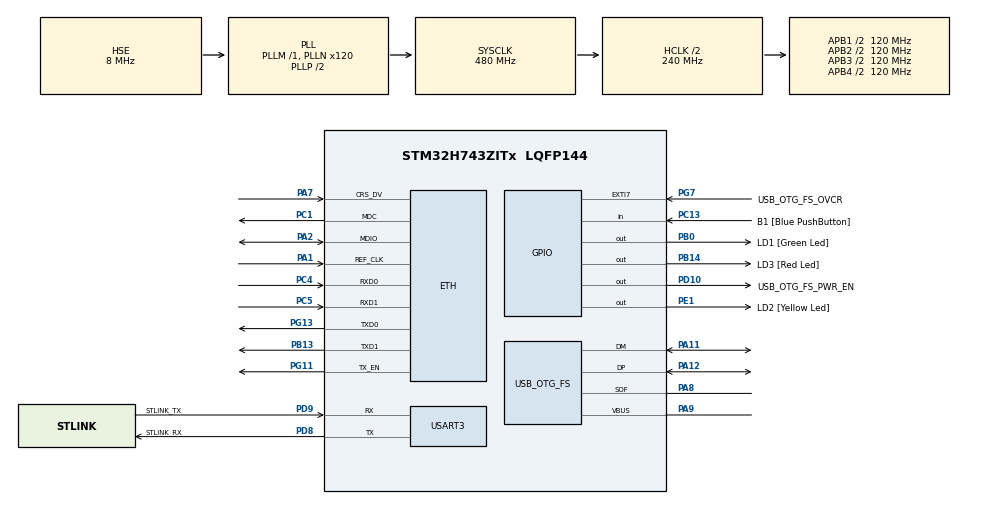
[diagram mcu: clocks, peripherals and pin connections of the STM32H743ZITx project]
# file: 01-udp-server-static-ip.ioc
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CORTEX_M7.AccessPermission_S-Cortex_Memory_Protection_Unit_Region1_Settings_S=MPU_REGION_FULL_ACCESS
CORTEX_M7.AccessPermission_S-Cortex_Memory_Protection_Unit_Region2_Settings_S=MPU_REGION_FULL_ACCESS
CORTEX_M7.BaseAddress_S-Cortex_Memory_Protection_Unit_Region1_Settings_S=0x30020000
CORTEX_M7.BaseAddress_S-Cortex_Memory_Protection_Unit_Region2_Settings_S=0x30040000
CORTEX_M7.CPU_DCache=Enabled
CORTEX_M7.CPU_ICache=Enabled
CORTEX_M7.DisableExec_S-Cortex_Memory_Protection_Unit_Region1_Settings_S=MPU_INSTRUCTION_ACCESS_DISABLE
CORTEX_M7.DisableExec_S-Cortex_Memory_Protection_Unit_Region2_Settings_S=MPU_INSTRUCTION_ACCESS_DISABLE
CORTEX_M7.Enable_S-Cortex_Memory_Protection_Unit_Region1_Settings_S=MPU_REGION_ENABLE
CORTEX_M7.Enable_S-Cortex_Memory_Protection_Unit_Region2_Settings_S=MPU_REGION_ENABLE
CORTEX_M7.IsBufferable_S-Cortex_Memory_Protection_Unit_Region2_Settings_S=MPU_ACCESS_BUFFERABLE
CORTEX_M7.IsShareable_S-Cortex_Memory_Protection_Unit_Region2_Settings_S=MPU_ACCESS_SHAREABLE
CORTEX_M7.Size_S-Cortex_Memory_Protection_Unit_Region1_Settings_S=MPU_REGION_SIZE_128KB
CORTEX_M7.Size_S-Cortex_Memory_Protection_Unit_Region2_Settings_S=MPU_REGION_SIZE_512B
CORTEX_M7.TypeExtField_S-Cortex_Memory_Protection_Unit_Region1_Settings_S=MPU_TEX_LEVEL1
CORTEX_M7.default_mode_Activation=1
ETH.MediaInterface=HAL_ETH_RMII_MODE
ETH.RxDescAddress=0x30040000
ETH.TxDescAddress=0x30040200
LWIP.BSP.number=1
LWIP.IP_ADDRESS=192.168.015.002
LWIP.LWIP_DHCP=0
LWIP.LWIP_RAM_HEAP_POINTER=0x30020000
LWIP.MEM_SIZE=131048
LWIP.NETMASK_ADDRESS=255.255.255.000
LWIP.TCP_MSS=1460
LWIP.TCP_SND_BUF=5840
LWIP.TCP_SND_QUEUELEN=16
LWIP.TCP_WND=5840
LWIP.Version=v2.1.2_Cube
LWIP0.BSP.STBoard=false
LWIP0.BSP.api=BSP_COMPONENT_DRIVER
LWIP0.BSP.component=LAN8742
LWIP0.BSP.instance=LAN8742
LWIP0.BSP.name=Driver_PHY
LWIP0.BSP.semaphore=S_LAN8742
LWIP0.BSP.solution=LAN8742
Mcu.Family=STM32H7
Mcu.Name=STM32H743ZITx
Mcu.Package=LQFP144
NVIC.ETH_IRQn=true\:0\:0\:false\:false\:true\:true\:true\:true
NVIC.PriorityGroup=NVIC_PRIORITYGROUP_4
PA1.GPIO_Speed=GPIO_SPEED_FREQ_VERY_HIGH
PA1.Mode=RMII
PA1.Signal=ETH_REF_CLK
PA11.Mode=Device_Only
PA11.Signal=USB_OTG_FS_DM
PA12.Mode=Device_Only
PA12.Signal=USB_OTG_FS_DP
PA2.GPIO_Speed=GPIO_SPEED_FREQ_VERY_HIGH
PA2.Mode=RMII
PA2.Signal=ETH_MDIO
PA7.GPIO_Speed=GPIO_SPEED_FREQ_VERY_HIGH
PA7.Mode=RMII
PA7.Signal=ETH_CRS_DV
PA8.Mode=Activate_SOF_FS
PA8.Signal=USB_OTG_FS_SOF
PA9.Mode=Activate_VBUS
PA9.Signal=USB_OTG_FS_VBUS
PB0.GPIO_Label=LD1 [Green Led]
PB0.Signal=GPIO_Output
PB13.GPIO_Speed=GPIO_SPEED_FREQ_VERY_HIGH
PB13.Mode=RMII
PB13.Signal=ETH_TXD1
PB14.GPIO_Label=LD3 [Red Led]
PB14.Signal=GPIO_Output
PC1.GPIO_Speed=GPIO_SPEED_FREQ_VERY_HIGH
PC1.Mode=RMII
PC1.Signal=ETH_MDC
PC13.GPIO_Label=B1 [Blue PushButton]
PC13.Signal=GPIO_Input
PC14-OSC32_IN\ (OSC32_IN).Mode=LSE-External-Oscillator
PC14-OSC32_IN\ (OSC32_IN).Signal=RCC_OSC32_IN
PC15-OSC32_OUT\ (OSC32_OUT).Mode=LSE-External-Oscillator
PC15-OSC32_OUT\ (OSC32_OUT).Signal=RCC_OSC32_OUT
PC4.GPIO_Speed=GPIO_SPEED_FREQ_VERY_HIGH
PC4.Mode=RMII
PC4.Signal=ETH_RXD0
PC5.GPIO_Speed=GPIO_SPEED_FREQ_VERY_HIGH
PC5.Mode=RMII
PC5.Signal=ETH_RXD1
PD10.GPIO_Label=USB_OTG_FS_PWR_EN
PD10.Signal=GPIO_Output
PD8.GPIO_Label=STLINK_RX
PD8.Mode=Asynchronous
PD8.Signal=USART3_TX
PD9.GPIO_Label=STLINK_TX
PD9.Mode=Asynchronous
PD9.Signal=USART3_RX
PE1.GPIO_Label=LD2 [Yellow Led]
PE1.Signal=GPIO_Output
PG11.GPIO_Speed=GPIO_SPEED_FREQ_VERY_HIGH
PG11.Mode=RMII
PG11.Signal=ETH_TX_EN
PG13.GPIO_Speed=GPIO_SPEED_FREQ_VERY_HIGH
PG13.Mode=RMII
PG13.Signal=ETH_TXD0
PG7.GPIO_Label=USB_OTG_FS_OVCR
PG7.Signal=GPXTI7
PH0-OSC_IN\ (PH0).Mode=HSE-External-Clock-Source
PH0-OSC_IN\ (PH0).Signal=RCC_OSC_IN
PH1-OSC_OUT\ (PH1).Signal=RCC_OSC_OUT
ProjectManager.HeapSize=0x200
ProjectManager.StackSize=0x400
ProjectManager.TargetToolchain=STM32CubeIDE
RCC.ADCFreq_Value=16125000
RCC.APB1Freq_Value=120000000
RCC.APB2Freq_Value=120000000
RCC.APB3Freq_Value=120000000
RCC.APB4Freq_Value=120000000
RCC.CortexFreq_Value=480000000
RCC.D1PPRE=RCC_APB3_DIV2
RCC.D2PPRE1=RCC_APB1_DIV2
RCC.D2PPRE2=RCC_APB2_DIV2
RCC.D3PPRE=RCC_APB4_DIV2
RCC.DIVM1=1
RCC.DIVN1=120
RCC.DIVQ1=20
RCC.HCLKFreq_Value=240000000
RCC.HPRE=RCC_HCLK_DIV2
RCC.HSE_VALUE=8000000
RCC.PLL2FRACN=0
RCC.PLL3FRACN=0
RCC.PLLFRACN=0
RCC.PWR_Regulator_Voltage_Scale=PWR_REGULATOR_VOLTAGE_SCALE0
RCC.SYSCLKFreq_VALUE=480000000
RCC.SYSCLKSource=RCC_SYSCLKSOURCE_PLLCLK
RCC.USART234578CLockSelection=RCC_USART234578CLKSOURCE_HSI
RCC.USBFreq_Value=48000000
USART3.VirtualMode-Asynchronous=VM_ASYNC
USB_OTG_FS.VirtualMode=Device_Only
VP_LWIP_VS_Enabled.Mode=Enabled
board=NUCLEO-H743ZI2

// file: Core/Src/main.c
/* USER CODE BEGIN Header */
/**
  ******************************************************************************
  * @file           : main.c
  * @brief          : Main program body
  ******************************************************************************
  * @attention
  *
  * Copyright (c) 2024 STMicroelectronics.
  * All rights reserved.
  *
  * This software is licensed under terms that can be found in the LICENSE file
  * in the root directory of this software component.
  * If no LICENSE file comes with this software, it is provided AS-IS.
  *
  ******************************************************************************
  */
/* USER CODE END Header */
#include "main.h"
#include "lwip.h"

/* USER CODE BEGIN Includes */
#include "lwip/udp.h"
#include <string.h>

/* USER CODE END Includes */

UART_HandleTypeDef huart3;

PCD_HandleTypeDef hpcd_USB_OTG_FS;

/* USER CODE BEGIN PV */

#define UDP_SERVER

u8_t   data[100];
__IO uint32_t message_count = 0;
struct udp_pcb *upcb;

void udp_receive_callback(void *arg, struct udp_pcb *upcb, struct pbuf *p, const ip_addr_t *addr, u16_t port)
{
  /*increment message count */
  message_count++;

  /* Free receive pbuf */
  pbuf_free(p);
}

void udp_echoclient_connect(void)
{
  ip_addr_t DestIPaddr;
  err_t err;

  /* Create a new UDP control block  */
  upcb = udp_new();

  if (upcb!=NULL)
  {
    /*assign destination IP address */
    IP4_ADDR( &DestIPaddr, 192, 168, 15, 11 );

    /* configure destination IP address and port */
    err= udp_connect(upcb, &DestIPaddr, 12345);

    if (err == ERR_OK)
    {
      /* Set a receive callback for the upcb */
      udp_recv(upcb, udp_receive_callback, NULL);
    }
  }
}

void udp_echoclient_send(void)
{
  struct pbuf *p;

  message_count++;
  sprintf((char*)data, "sending udp client message %d", (int)message_count);

  /* allocate pbuf from pool*/
  p = pbuf_alloc(PBUF_TRANSPORT,strlen((char*)data), PBUF_RAM);

  if (p != NULL)
  {
    /* copy data to pbuf */
    pbuf_take(p, (char*)data, strlen((char*)data));

    /* send udp data */
    udp_send(upcb, p);

    /* free pbuf */
    pbuf_free(p);
  }
}

void udp_echoserver_receive_callback(void *arg, struct udp_pcb *upcb, struct pbuf *p, const ip_addr_t *addr, u16_t port)
{
  struct pbuf *p_tx;

  /* allocate pbuf from RAM*/
  p_tx = pbuf_alloc(PBUF_TRANSPORT,p->len, PBUF_RAM);

  if(p_tx != NULL)
  {
    pbuf_take(p_tx, (char*)p->payload, p->len);
    /* Connect to the remote client */
    udp_connect(upcb, addr, port);

    /* Tell the client that we have accepted it */
    udp_send(upcb, p_tx);

    /* free the UDP connection, so we can accept new clients */
    udp_disconnect(upcb);

    /* Free the p_tx buffer */
    pbuf_free(p_tx);

    /* Free the p buffer */
    pbuf_free(p);
  }
}

void udp_echoserver_init(void)
{
   ip_addr_t DestIPaddr;
   struct udp_pcb *upcb;
   err_t err;

   /* Create a new UDP control block  */
   upcb = udp_new();

   if (upcb)
   {
     /* Bind the upcb to the UDP_PORT port */
     /* Using IP_ADDR_ANY allow the upcb to be used by any local interface */
	  IP4_ADDR( &DestIPaddr, 192, 168, 15, 2 );
      err = udp_bind(upcb, &DestIPaddr, 12345);

      if(err == ERR_OK)
      {
        /* Set a receive callback for the upcb */
        udp_recv(upcb, udp_echoserver_receive_callback, NULL);
      }
      else
      {
        udp_remove(upcb);
      }
   }
}

/* USER CODE END PV */

void SystemClock_Config(void);
static void MPU_Config(void);
static void MX_GPIO_Init(void);
static void MX_USART3_UART_Init(void);
static void MX_USB_OTG_FS_PCD_Init(void);

int main(void)
{

  /* MPU Configuration--------------------------------------------------------*/
  MPU_Config();
/* Enable the CPU Cache */

  /* Enable I-Cache---------------------------------------------------------*/
  SCB_EnableICache();

  /* Enable D-Cache---------------------------------------------------------*/
  SCB_EnableDCache();

  /* MCU Configuration--------------------------------------------------------*/

  /* Reset of all peripherals, Initializes the Flash interface and the Systick. */
  HAL_Init();

  /* Configure the system clock */
  SystemClock_Config();

  /* Initialize all configured peripherals */
  MX_GPIO_Init();
  MX_USART3_UART_Init();
  MX_USB_OTG_FS_PCD_Init();
  MX_LWIP_Init();

  /* Infinite loop */
  /* USER CODE BEGIN WHILE */

#ifdef UDP_SERVER
  // Open UDP Server at 192.168.15.2 Port 12345
  // To change access the function below.
  udp_echoserver_init();
#else
  // Connect to UDP Server at 192.168.15.11 Port 12345
  // To change access the function below.
  udp_echoclient_connect();
#endif

  while (1)
  {
    /* USER CODE END WHILE */

    /* USER CODE BEGIN 3 */
    MX_LWIP_Process();

#ifndef UDP_SERVER
    udp_echoclient_send();
    HAL_Delay(2000);
#endif

  }
  /* USER CODE END 3 */
}

void SystemClock_Config(void)
{
  RCC_OscInitTypeDef RCC_OscInitStruct = {0};
  RCC_ClkInitTypeDef RCC_ClkInitStruct = {0};

  /** Supply configuration update enable
  */
  HAL_PWREx_ConfigSupply(PWR_LDO_SUPPLY);

  /** Configure the main internal regulator output voltage
  */
  __HAL_PWR_VOLTAGESCALING_CONFIG(PWR_REGULATOR_VOLTAGE_SCALE1);

  while(!__HAL_PWR_GET_FLAG(PWR_FLAG_VOSRDY)) {}

  __HAL_RCC_SYSCFG_CLK_ENABLE();
  __HAL_PWR_VOLTAGESCALING_CONFIG(PWR_REGULATOR_VOLTAGE_SCALE0);

  while(!__HAL_PWR_GET_FLAG(PWR_FLAG_VOSRDY)) {}

  /** Initializes the RCC Oscillators according to the specified parameters
  * in the RCC_OscInitTypeDef structure.
  */
  RCC_OscInitStruct.OscillatorType = RCC_OSCILLATORTYPE_HSI|RCC_OSCILLATORTYPE_HSE;
  RCC_OscInitStruct.HSEState = RCC_HSE_BYPASS;
  RCC_OscInitStruct.HSIState = RCC_HSI_DIV1;
  RCC_OscInitStruct.HSICalibrationValue = RCC_HSICALIBRATION_DEFAULT;
  RCC_OscInitStruct.PLL.PLLState = RCC_PLL_ON;
  RCC_OscInitStruct.PLL.PLLSource = RCC_PLLSOURCE_HSE;
  RCC_OscInitStruct.PLL.PLLM = 1;
  RCC_OscInitStruct.PLL.PLLN = 120;
  RCC_OscInitStruct.PLL.PLLP = 2;
  RCC_OscInitStruct.PLL.PLLQ = 20;
  RCC_OscInitStruct.PLL.PLLR = 2;
  RCC_OscInitStruct.PLL.PLLRGE = RCC_PLL1VCIRANGE_3;
  RCC_OscInitStruct.PLL.PLLVCOSEL = RCC_PLL1VCOWIDE;
  RCC_OscInitStruct.PLL.PLLFRACN = 0;
  if (HAL_RCC_OscConfig(&RCC_OscInitStruct) != HAL_OK)
  {
    Error_Handler();
  }

  /** Initializes the CPU, AHB and APB buses clocks
  */
  RCC_ClkInitStruct.ClockType = RCC_CLOCKTYPE_HCLK|RCC_CLOCKTYPE_SYSCLK
                              |RCC_CLOCKTYPE_PCLK1|RCC_CLOCKTYPE_PCLK2
                              |RCC_CLOCKTYPE_D3PCLK1|RCC_CLOCKTYPE_D1PCLK1;
  RCC_ClkInitStruct.SYSCLKSource = RCC_SYSCLKSOURCE_PLLCLK;
  RCC_ClkInitStruct.SYSCLKDivider = RCC_SYSCLK_DIV1;
  RCC_ClkInitStruct.AHBCLKDivider = RCC_HCLK_DIV2;
  RCC_ClkInitStruct.APB3CLKDivider = RCC_APB3_DIV2;
  RCC_ClkInitStruct.APB1CLKDivider = RCC_APB1_DIV2;
  RCC_ClkInitStruct.APB2CLKDivider = RCC_APB2_DIV2;
  RCC_ClkInitStruct.APB4CLKDivider = RCC_APB4_DIV2;

  if (HAL_RCC_ClockConfig(&RCC_ClkInitStruct, FLASH_LATENCY_4) != HAL_OK)
  {
    Error_Handler();
  }
}

static void MX_USART3_UART_Init(void)
{

  huart3.Instance = USART3;
  huart3.Init.BaudRate = 115200;
  huart3.Init.WordLength = UART_WORDLENGTH_8B;
  huart3.Init.StopBits = UART_STOPBITS_1;
  huart3.Init.Parity = UART_PARITY_NONE;
  huart3.Init.Mode = UART_MODE_TX_RX;
  huart3.Init.HwFlowCtl = UART_HWCONTROL_NONE;
  huart3.Init.OverSampling = UART_OVERSAMPLING_16;
  huart3.Init.OneBitSampling = UART_ONE_BIT_SAMPLE_DISABLE;
  huart3.Init.ClockPrescaler = UART_PRESCALER_DIV1;
  huart3.AdvancedInit.AdvFeatureInit = UART_ADVFEATURE_NO_INIT;
  if (HAL_UART_Init(&huart3) != HAL_OK)
  {
    Error_Handler();
  }
  if (HAL_UARTEx_SetTxFifoThreshold(&huart3, UART_TXFIFO_THRESHOLD_1_8) != HAL_OK)
  {
    Error_Handler();
  }
  if (HAL_UARTEx_SetRxFifoThreshold(&huart3, UART_RXFIFO_THRESHOLD_1_8) != HAL_OK)
  {
    Error_Handler();
  }
  if (HAL_UARTEx_DisableFifoMode(&huart3) != HAL_OK)
  {
    Error_Handler();
  }

}

static void MX_USB_OTG_FS_PCD_Init(void)
{

  hpcd_USB_OTG_FS.Instance = USB_OTG_FS;
  hpcd_USB_OTG_FS.Init.dev_endpoints = 9;
  hpcd_USB_OTG_FS.Init.speed = PCD_SPEED_FULL;
  hpcd_USB_OTG_FS.Init.dma_enable = DISABLE;
  hpcd_USB_OTG_FS.Init.phy_itface = PCD_PHY_EMBEDDED;
  hpcd_USB_OTG_FS.Init.Sof_enable = ENABLE;
  hpcd_USB_OTG_FS.Init.low_power_enable = DISABLE;
  hpcd_USB_OTG_FS.Init.lpm_enable = DISABLE;
  hpcd_USB_OTG_FS.Init.battery_charging_enable = ENABLE;
  hpcd_USB_OTG_FS.Init.vbus_sensing_enable = ENABLE;
  hpcd_USB_OTG_FS.Init.use_dedicated_ep1 = DISABLE;
  if (HAL_PCD_Init(&hpcd_USB_OTG_FS) != HAL_OK)
  {
    Error_Handler();
  }

}

static void MX_GPIO_Init(void)
{
  GPIO_InitTypeDef GPIO_InitStruct = {0};

  /* GPIO Ports Clock Enable */
  __HAL_RCC_GPIOC_CLK_ENABLE();
  __HAL_RCC_GPIOH_CLK_ENABLE();
  __HAL_RCC_GPIOA_CLK_ENABLE();
  __HAL_RCC_GPIOB_CLK_ENABLE();
  __HAL_RCC_GPIOD_CLK_ENABLE();
  __HAL_RCC_GPIOG_CLK_ENABLE();
  __HAL_RCC_GPIOE_CLK_ENABLE();

  /*Configure GPIO pin Output Level */
  HAL_GPIO_WritePin(GPIOB, LD1_Pin|LD3_Pin, GPIO_PIN_RESET);

  /*Configure GPIO pin Output Level */
  HAL_GPIO_WritePin(USB_OTG_FS_PWR_EN_GPIO_Port, USB_OTG_FS_PWR_EN_Pin, GPIO_PIN_RESET);

  /*Configure GPIO pin Output Level */
  HAL_GPIO_WritePin(LD2_GPIO_Port, LD2_Pin, GPIO_PIN_RESET);

  /*Configure GPIO pin : B1_Pin */
  GPIO_InitStruct.Pin = B1_Pin;
  GPIO_InitStruct.Mode = GPIO_MODE_INPUT;
  GPIO_InitStruct.Pull = GPIO_NOPULL;
  HAL_GPIO_Init(B1_GPIO_Port, &GPIO_InitStruct);

  /*Configure GPIO pins : LD1_Pin LD3_Pin */
  GPIO_InitStruct.Pin = LD1_Pin|LD3_Pin;
  GPIO_InitStruct.Mode = GPIO_MODE_OUTPUT_PP;
  GPIO_InitStruct.Pull = GPIO_NOPULL;
  GPIO_InitStruct.Speed = GPIO_SPEED_FREQ_LOW;
  HAL_GPIO_Init(GPIOB, &GPIO_InitStruct);

  /*Configure GPIO pin : USB_OTG_FS_PWR_EN_Pin */
  GPIO_InitStruct.Pin = USB_OTG_FS_PWR_EN_Pin;
  GPIO_InitStruct.Mode = GPIO_MODE_OUTPUT_PP;
  GPIO_InitStruct.Pull = GPIO_NOPULL;
  GPIO_InitStruct.Speed = GPIO_SPEED_FREQ_LOW;
  HAL_GPIO_Init(USB_OTG_FS_PWR_EN_GPIO_Port, &GPIO_InitStruct);

  /*Configure GPIO pin : USB_OTG_FS_OVCR_Pin */
  GPIO_InitStruct.Pin = USB_OTG_FS_OVCR_Pin;
  GPIO_InitStruct.Mode = GPIO_MODE_IT_RISING;
  GPIO_InitStruct.Pull = GPIO_NOPULL;
  HAL_GPIO_Init(USB_OTG_FS_OVCR_GPIO_Port, &GPIO_InitStruct);

  /*Configure GPIO pin : LD2_Pin */
  GPIO_InitStruct.Pin = LD2_Pin;
  GPIO_InitStruct.Mode = GPIO_MODE_OUTPUT_PP;
  GPIO_InitStruct.Pull = GPIO_NOPULL;
  GPIO_InitStruct.Speed = GPIO_SPEED_FREQ_LOW;
  HAL_GPIO_Init(LD2_GPIO_Port, &GPIO_InitStruct);

}

/* MPU Configuration */

void MPU_Config(void)
{
  MPU_Region_InitTypeDef MPU_InitStruct = {0};

  /* Disables the MPU */
  HAL_MPU_Disable();

  /** Initializes and configures the Region and the memory to be protected
  */
  MPU_InitStruct.Enable = MPU_REGION_ENABLE;
  MPU_InitStruct.Number = MPU_REGION_NUMBER0;
  MPU_InitStruct.BaseAddress = 0x0;
  MPU_InitStruct.Size = MPU_REGION_SIZE_4GB;
  MPU_InitStruct.SubRegionDisable = 0x87;
  MPU_InitStruct.TypeExtField = MPU_TEX_LEVEL0;
  MPU_InitStruct.AccessPermission = MPU_REGION_NO_ACCESS;
  MPU_InitStruct.DisableExec = MPU_INSTRUCTION_ACCESS_DISABLE;
  MPU_InitStruct.IsShareable = MPU_ACCESS_SHAREABLE;
  MPU_InitStruct.IsCacheable = MPU_ACCESS_NOT_CACHEABLE;
  MPU_InitStruct.IsBufferable = MPU_ACCESS_NOT_BUFFERABLE;

  HAL_MPU_ConfigRegion(&MPU_InitStruct);

  /** Initializes and configures the Region and the memory to be protected
  */
  MPU_InitStruct.Number = MPU_REGION_NUMBER1;
  MPU_InitStruct.BaseAddress = 0x30020000;
  MPU_InitStruct.Size = MPU_REGION_SIZE_128KB;
  MPU_InitStruct.SubRegionDisable = 0x0;
  MPU_InitStruct.TypeExtField = MPU_TEX_LEVEL1;
  MPU_InitStruct.AccessPermission = MPU_REGION_FULL_ACCESS;
  MPU_InitStruct.IsShareable = MPU_ACCESS_NOT_SHAREABLE;

  HAL_MPU_ConfigRegion(&MPU_InitStruct);

  /** Initializes and configures the Region and the memory to be protected
  */
  MPU_InitStruct.Number = MPU_REGION_NUMBER2;
  MPU_InitStruct.BaseAddress = 0x30040000;
  MPU_InitStruct.Size = MPU_REGION_SIZE_512B;
  MPU_InitStruct.TypeExtField = MPU_TEX_LEVEL0;
  MPU_InitStruct.IsShareable = MPU_ACCESS_SHAREABLE;
  MPU_InitStruct.IsBufferable = MPU_ACCESS_BUFFERABLE;

  HAL_MPU_ConfigRegion(&MPU_InitStruct);
  /* Enables the MPU */
  HAL_MPU_Enable(MPU_PRIVILEGED_DEFAULT);

}

void Error_Handler(void)
{
  __disable_irq();
  while (1)
  {
  }
}
